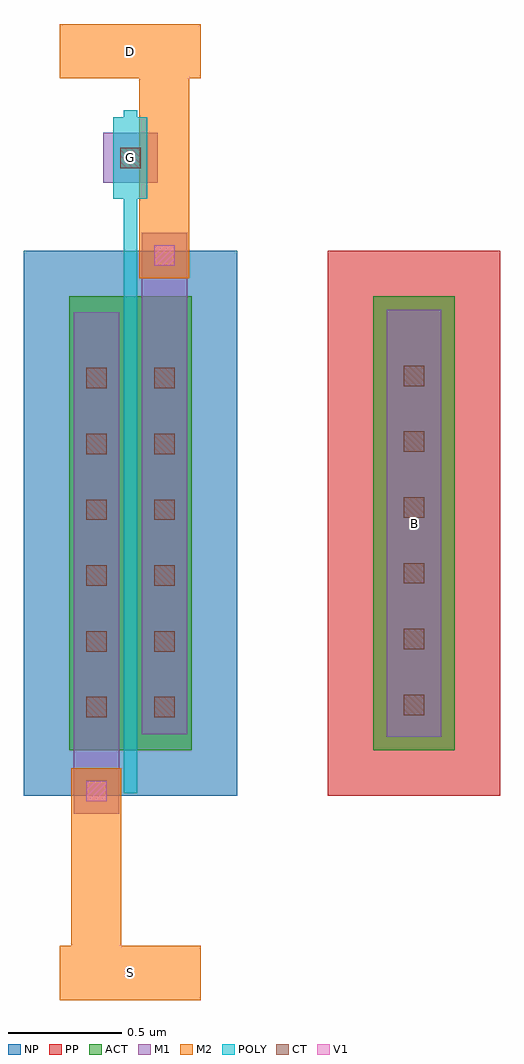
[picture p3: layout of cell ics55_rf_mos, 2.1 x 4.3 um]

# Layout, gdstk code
import gdstk
lib = gdstk.Library(unit=1e-6, precision=1e-09)
def R(c, l, rs):  # rectangles x0, y0, x1, y1
    for r in rs: c.add(gdstk.rectangle(r[:2], r[2:], *l))
def A(c, l, x, y, w, h, nx, ny, dx, dy):  # array of equal rectangles
    R(c, l, [(x+i*dx, y+j*dy, x+i*dx+w, y+j*dy+h) for i in range(nx) for j in range(ny)])
ACT = (2, 1)
POLY = (41, 1)
NP = (52, 1)
PP = (53, 1)
CT = (72, 1)
M1 = (81, 1)
M2 = (82, 1)
V1 = (91, 1)

ics55_rf_mos = lib.new_cell('ics55_rf_mos')
R(ics55_rf_mos, ACT, [(-0.27,-1,0.27,1), (1.07,-1,1.43,1)])
R(ics55_rf_mos, POLY, [(-0.03,-1.19,0.03,1.82), (-0.075,1.43,0.075,1.79)])
R(ics55_rf_mos, NP, [(-0.47,-1.2,0.47,1.2)])
R(ics55_rf_mos, PP, [(0.87,-1.2,1.63,1.2)])
A(ics55_rf_mos, CT, -0.195, -0.855, 0.09, 0.09, 1, 6, 0, 0.29)
A(ics55_rf_mos, CT, 0.105, -0.855, 0.09, 0.09, 1, 6, 0, 0.29)
A(ics55_rf_mos, CT, 1.205, -0.845, 0.09, 0.09, 1, 6, 0, 0.29)
R(ics55_rf_mos, CT, [(-0.045,1.565,0.045,1.655)])
R(ics55_rf_mos, M1, [(-0.25,-1.28,-0.05,0.93), (1.13,-0.94,1.37,0.94), (0.05,-0.93,0.25,1.28), (-0.12,1.5,0.12,1.72)])
R(ics55_rf_mos, M2, [(-0.31,-2.1,0.31,-1.86), (-0.26,-2.1,-0.04,-1.08), (0.04,1.08,0.26,2.2), (-0.31,1.96,0.31,2.2)])
R(ics55_rf_mos, V1, [(-0.195,-1.225,-0.105,-1.135), (0.105,1.135,0.195,1.225)])
ics55_rf_mos.add(gdstk.Label('G', (0,1.61), layer=81, texttype=6))
ics55_rf_mos.add(gdstk.Label('B', (1.25,0), layer=81, texttype=6))
ics55_rf_mos.add(gdstk.Label('S', (0,-1.98), layer=82, texttype=6))
ics55_rf_mos.add(gdstk.Label('D', (0,2.08), layer=82, texttype=6))

lib.write_gds('ics55_rf_mos.gds')
